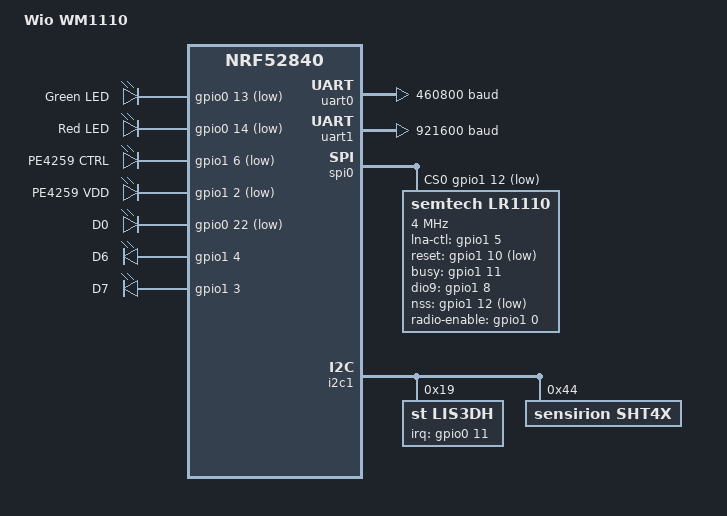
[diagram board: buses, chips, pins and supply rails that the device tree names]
/*
 * Copyright (c) 2024 Phil Erwin
 * SPDX-License-Identifier: Apache-2.0
 */


/dts-v1/;
#include <nordic/nrf52840_qiaa.dtsi>
#include "wio_wm1110-pinctrl.dtsi"

/ {
	model = "Wio WM1110";
	compatible = "seeed,wio-wm1110";

	chosen {
		zephyr,console        = &uart0;
		zephyr,sram           = &sram0;
		zephyr,flash          = &flash0;
		zephyr,code-partition = &code_partition;
	};

	leds {
		compatible = "gpio-leds";
		ledg: led_g {
			gpios = <&gpio0 13 GPIO_ACTIVE_LOW>;
			label = "Green LED";
		};
		ledr: led_r {
			gpios = <&gpio0 14 GPIO_ACTIVE_LOW>;
			label = "Red LED";
		};

		pe4259ctrl: pe4259_ctrl {
			gpios = <&gpio1 6 (GPIO_ACTIVE_LOW)>;
			label = "PE4259 CTRL";
		};
		pe4259vdd: pe4259_vdd {
			gpios = <&gpio1 2 (GPIO_ACTIVE_LOW)>;
			label = "PE4259 VDD";
		};

		d0: d0 {
			gpios = <&gpio0 22 (GPIO_ACTIVE_LOW)>;
			label = "D0";
		};
		d6: d6 {
			gpios = <&gpio1 4 ( GPIO_PULL_UP )>;
			label = "D6";
		};

		d7: d7 {
			gpios = <&gpio1 3 ( GPIO_PULL_UP )>;
			label = "D7";
		};
	};

	aliases {
		accel0                = &lis3dh;
		driveway-sensor       = &d6;
		ledg                  = &ledg;
		ledr                  = &ledr;
		lora0                 = &lora;
		pir0		      = &d7;
		rng0                  = &rng;
		temperature-humidity0 = &sht4x;
		};
};

&flash0 {
	partitions {
		compatible = "fixed-partitions";
		#address-cells = <1>;
		#size-cells = <1>;

		boot_partition: partition@0 {
			label = "uf2";
			reg = <0x00000000 DT_SIZE_K(16)>;
			read-only;
		};

		code_partition: partition@4000 {
			label = "code";
			reg = <0x4000 DT_SIZE_K(512-16-16)>;
			read-only;
		};

		storage_partition: partition@7c000 {
			label = "storage";
			reg = <0x7c000 DT_SIZE_K(16)>;
		};	};
};


/* Aux Debug/Logging Console */
&uart0 {
	compatible = "nordic,nrf-uart";
	status = "okay";
	current-speed = <460800>;
	pinctrl-0 = <&uart0_default>;
	pinctrl-1 = <&uart0_sleep>;
	pinctrl-names = "default", "sleep";
};

&uart1 {
	status = "okay";
	current-speed = <921600>;
	pinctrl-0 = <&uart1_default>;
	pinctrl-1 = <&uart1_sleep>;
	pinctrl-names = "default", "sleep";
};

&gpiote {
	status = "okay";
/*	interrupts = <6 0>; */
};

&gpio0 {
       status = "okay";
       };

&gpio1 {
       status = "okay";
       };

&spi0 {
	compatible = "nordic,nrf-spi";

	status = "okay";

	pinctrl-0 = <&spi0_default>;
	pinctrl-1 = <&spi0_sleep>;
	pinctrl-names = "default", "sleep";

	cs-gpios = <&gpio1 12 (GPIO_ACTIVE_LOW)>;  /* does this need to be the same as NSS below ? */

	lora: lr1110@0 {
		compatible = "semtech,lr1110";
		reg = <0>;
		label = "lr1110";
		lna-ctl-gpios = <&gpio1 5 GPIO_ACTIVE_HIGH>;
		reset-gpios = <&gpio1 10 GPIO_ACTIVE_LOW>;
		busy-gpios = <&gpio1 11 0>;
		/*antenna-enable-gpios = <&gpio1 7 0>;*/
		dio9-gpios = <&gpio1 8 0>;  /* This is the IRQ gpio.  Documented as DIO9 in the LR1110 hardware spec */
		nss-gpios = <&gpio1 12 (GPIO_ACTIVE_LOW)>;
		radio-enable-gpios = <&gpio1 0 0>;
		spi-max-frequency = <4000000>;
		dio2-tx-enable;
/*		vdd-sensor-en-gpios = <&gpio1 11 0>; */
	};
};

&i2c1 {
	compatible = "nordic,nrf-twim";
	status = "okay";

	pinctrl-0 = <&i2c1_default>;
	pinctrl-1 = <&i2c1_sleep>;
	pinctrl-names = "default", "sleep";

	lis3dh: lis3dh@19 {
		compatible = "st,lis3dh", "st,lis2dh";
		reg = <0x19>;
		/* only INT1 is in use */
		irq-gpios = <&gpio0 11 GPIO_ACTIVE_HIGH>;
		anym-on-int1;
	};

	sht4x: sht4x@44 {
		compatible = "sensirion,sht4x";
		repeatability = <0>;
		reg = <0x44>;
	};
};
